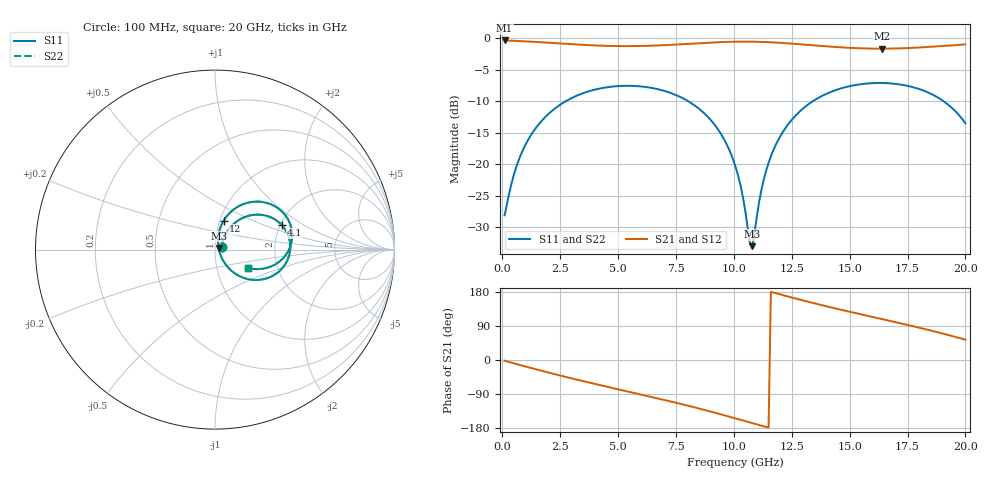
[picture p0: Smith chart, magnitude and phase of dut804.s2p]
! Touchstone file exported from HFSS 2026.1.0
!  File:  C:/ffzhzh/LocalFiles/Ansys_Project_Files/temp_train_TSV_RDL_804_1783263041_38820.aedt
!  Generated:  11:02:44 PM Jul  5, 2026
!  Design:  TSV_RDL
!  Project:  temp_train_TSV_RDL_804_1783263041_38820
! Variables:
!  h_bsmrdl = 3.74um
!  h_ox = 20um
!  h_rdl = 5um
!  h_sub = 75.27um
!  h_tmrdl = 2.3um
!  h_tsv = 75.27um
!  h_via = 3um
!  l_bsmrdl = 412.4um
!  l_sub = 5019.76um
!  l_tmrdl = 811.38um
!  m_sub = 200um
!  pitch = 37.14um
!  r_tsv = 6.81um
!  s_tmrdl = 10um
!  w_bsmrdl = 29.7um
!  w_sub = 500um
!  w_tmrdl = 15.98um
!  x_tsv_center1 = 819.37um
!  x_tsv_center2 = 1261.47um
!  x_tsv_center3 = 2088.83um
!  x_tsv_center4 = 2530.93um
!  x_tsv_center5 = 3358.29um
!  x_tsv_center6 = 3800.39um
# GHz S MA R 50.000000
! Terminal data exported
! Port[1] = TM_RDL1_1_T1
! Port[2] = TM_RDL5_1_T1
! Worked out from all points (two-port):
!   200 points, 100 MHz to 20 GHz, reference 50 ohm
!   highest |S21| = -0.32 dB at 100 MHz (marker M1); lowest = -1.6 dB at 16.4 GHz (marker M2)
!   |S21| within 3 dB of the highest: start of sweep to end of sweep
!   lowest |S11| = -33.0 dB at 10.8 GHz (marker M3), VSWR 1.05, Z = 52.1 + j0.962 ohm
!   |S11| at or under -10 dB: start of sweep to 2.732 GHz; 8.037 GHz to 13.4 GHz (5.366 GHz wide, 50.1 % of centre); 19.06 GHz to end of sweep
!   |S22| runs from -33.1 to -7.1 dB; largest |S21 - S12| = 3.2e-14
!   S11 on the Smith chart (normalised r, x): 100 MHz: 1.08, +0.03; 4.1 GHz: 2.03, +0.67; 12 GHz: 1.04, +0.34; 20 GHz: 1.42, -0.30
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0.1  0.03926 21.5  0.9638 -1.8  0.9638 -1.8  0.03926 21.5
! Gamma 0 0 0 0
! Port Impedance 50 0 50 0
0.6  0.09456 54.0  0.9555 -10.5  0.9555 -10.5  0.09456 54.0
1.3  0.1774 53.8  0.9413 -22.1  0.9413 -22.1  0.1774 53.8
2.3  0.2799 43.3  0.9172 -38.0  0.9172 -38.0  0.2799 43.3
3.5  0.3676 28.2  0.889 -56.0  0.889 -56.0  0.3676 28.2
4.1  0.3957 20.4  0.8784 -64.6  0.8784 -64.6  0.3956 20.4
5.5  0.4202 2.4  0.869 -84.1  0.869 -84.1  0.4201 2.4
6.8  0.3916 -14.6  0.8809 -102.5  0.8809 -102.5  0.3915 -14.6
8.9  0.2356 -43.2  0.9251 -134.5  0.9251 -134.5  0.2355 -43.3
9.6  0.1552 -51.6  0.9373 -146.1  0.9373 -146.1  0.1551 -51.7
10.1  0.09205 -54.2  0.9423 -154.5  0.9423 -154.5  0.09193 -54.3
10.4  0.05381 -49.0  0.9434 -159.6  0.9434 -159.6  0.05365 -49.3
10.7  0.02322 -8.9  0.943 -164.8  0.943 -164.8  0.02292 -9.0
10.8  0.02231 24.4  0.9425 -166.5  0.9425 -166.5  0.02202 24.8
11.3  0.07665 75.9  0.9373 -175.1  0.9373 -175.1  0.0766 76.2
12  0.1662 73.4  0.9235 173.1  0.9235 173.1  0.1662 73.6
13.4  0.316 55.4  0.883 150.7  0.883 150.7  0.316 55.6
14.8  0.4089 36.7  0.8459 130.1  0.8459 130.1  0.4089 36.8
16.4  0.4423 16.3  0.8293 107.9  0.8293 107.9  0.4423 16.4
16.7  0.4399 12.5  0.8301 103.8  0.8301 103.8  0.4399 12.6
18.6  0.3564 -12.1  0.8608 76.3  0.8608 76.3  0.3564 -11.9
20  0.2116 -29.1  0.896 53.6  0.896 53.6  0.2116 -28.9
